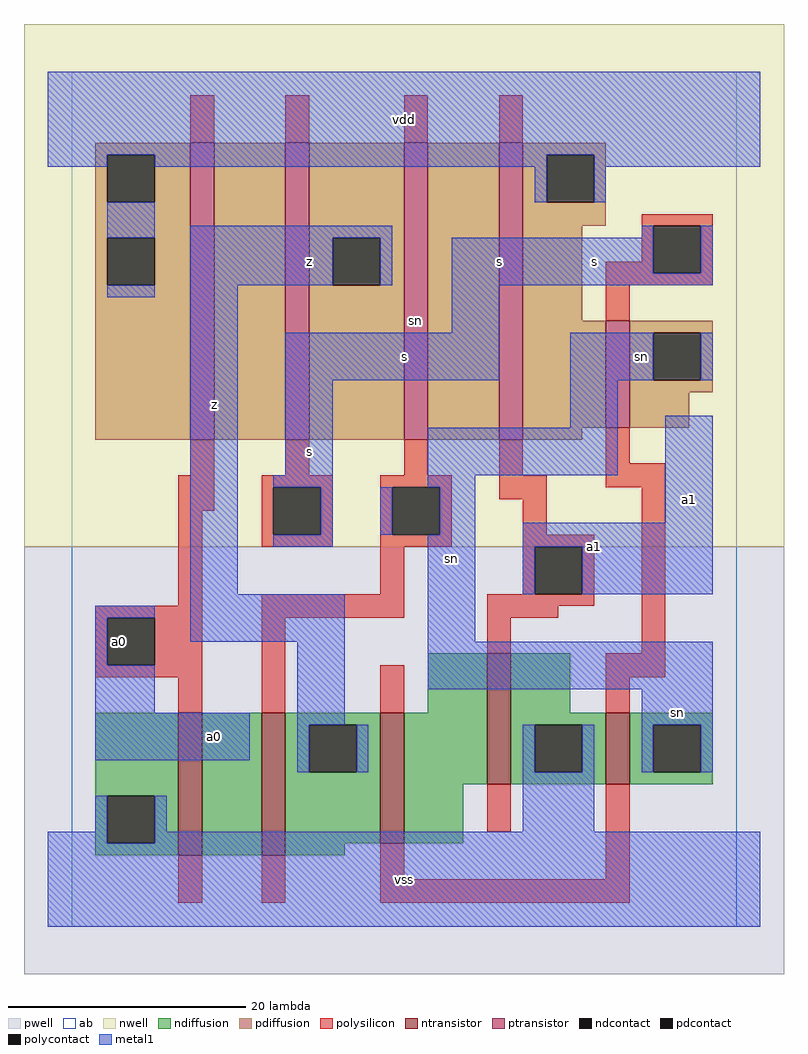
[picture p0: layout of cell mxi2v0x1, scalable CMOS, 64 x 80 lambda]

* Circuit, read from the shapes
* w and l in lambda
.subckt mxi2v0x1 a0 a1 s sn vdd vss z
M1 n1 a0 vss VSUBS nfet w=12 l=2
M2 z sn n1 VSUBS nfet w=12 l=2
M3 n2 s z VSUBS nfet w=11 l=2
M4 vss a1 n2 VSUBS nfet w=11 l=2
M5 sn s vss VSUBS nfet w=6 l=2
M6 n3 a0 vdd n4 pfet w=25 l=2
M7 z s n3 n4 pfet w=25 l=2
M8 n5 sn z n4 pfet w=25 l=2
M9 vdd a1 n5 n4 pfet w=25 l=2
M10 sn s vdd n4 pfet w=9 l=2
.ends

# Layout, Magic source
magic
tech scmos
<< ab >>
rect 0 0 56 72
<< pwell >>
rect -4 -4 60 32
<< nwell >>
rect -4 32 60 76
<< polysilicon >>
rect 10 66 12 70
rect 18 66 20 70
rect 28 66 30 70
rect 36 66 38 70
rect 48 59 54 60
rect 48 56 49 59
rect 45 55 49 56
rect 53 55 54 59
rect 45 54 54 55
rect 45 51 47 54
rect 10 38 12 41
rect 18 38 20 41
rect 28 38 30 41
rect 36 38 38 41
rect 45 39 47 42
rect 9 35 12 38
rect 16 37 22 38
rect 9 27 11 35
rect 16 33 17 37
rect 21 33 22 37
rect 16 32 22 33
rect 26 37 32 38
rect 26 33 27 37
rect 31 33 32 37
rect 36 36 40 38
rect 45 37 50 39
rect 26 32 32 33
rect 38 33 40 36
rect 38 32 44 33
rect 26 28 28 32
rect 38 28 39 32
rect 43 28 44 32
rect 2 26 11 27
rect 2 22 3 26
rect 7 22 11 26
rect 2 21 11 22
rect 9 18 11 21
rect 16 26 28 28
rect 35 27 44 28
rect 35 26 41 27
rect 16 18 18 26
rect 35 23 37 26
rect 48 23 50 37
rect 26 18 28 22
rect 45 21 50 23
rect 45 18 47 21
rect 35 8 37 12
rect 9 2 11 6
rect 16 2 18 6
rect 26 4 28 7
rect 45 4 47 12
rect 26 2 47 4
<< ndiffusion >>
rect 30 18 35 23
rect 2 11 9 18
rect 2 7 3 11
rect 7 7 9 11
rect 2 6 9 7
rect 11 6 16 18
rect 18 17 26 18
rect 18 13 20 17
rect 24 13 26 17
rect 18 7 26 13
rect 28 12 35 18
rect 37 18 42 23
rect 37 17 45 18
rect 37 13 39 17
rect 43 13 45 17
rect 37 12 45 13
rect 47 17 54 18
rect 47 13 49 17
rect 53 13 54 17
rect 47 12 54 13
rect 28 7 33 12
rect 18 6 23 7
<< pdiffusion >>
rect 2 65 10 66
rect 2 61 3 65
rect 7 61 10 65
rect 2 58 10 61
rect 2 54 3 58
rect 7 54 10 58
rect 2 41 10 54
rect 12 41 18 66
rect 20 58 28 66
rect 20 54 22 58
rect 26 54 28 58
rect 20 41 28 54
rect 30 41 36 66
rect 38 65 45 66
rect 38 61 40 65
rect 44 61 45 65
rect 38 59 45 61
rect 38 51 43 59
rect 38 42 45 51
rect 47 50 54 51
rect 47 46 49 50
rect 53 46 54 50
rect 47 45 54 46
rect 47 42 52 45
rect 38 41 43 42
<< metal1 >>
rect -2 65 58 72
rect -2 64 3 65
rect 7 64 40 65
rect 39 61 40 64
rect 44 64 58 65
rect 44 61 45 64
rect 3 58 7 61
rect 3 53 7 54
rect 10 58 27 59
rect 48 58 49 59
rect 10 54 22 58
rect 26 54 27 58
rect 32 55 49 58
rect 53 55 54 59
rect 32 54 54 55
rect 10 28 14 54
rect 32 50 36 54
rect 18 46 36 50
rect 42 46 49 50
rect 53 46 54 50
rect 18 38 22 46
rect 42 42 46 46
rect 17 37 22 38
rect 30 38 46 42
rect 30 37 34 38
rect 21 33 22 37
rect 26 33 27 37
rect 31 33 34 37
rect 50 34 54 43
rect 17 32 22 33
rect 2 26 7 27
rect 2 22 3 26
rect 10 24 23 28
rect 2 18 7 22
rect 2 14 15 18
rect 19 17 23 24
rect 30 24 34 33
rect 38 32 54 34
rect 38 28 39 32
rect 43 28 54 32
rect 30 20 54 24
rect 48 17 54 20
rect 19 13 20 17
rect 24 13 25 17
rect 38 13 39 17
rect 43 13 44 17
rect 48 13 49 17
rect 53 13 54 17
rect 2 8 3 11
rect -2 7 3 8
rect 7 8 8 11
rect 38 8 44 13
rect 7 7 58 8
rect -2 0 58 7
<< ntransistor >>
rect 9 6 11 18
rect 16 6 18 18
rect 26 7 28 18
rect 35 12 37 23
rect 45 12 47 18
<< ptransistor >>
rect 10 41 12 66
rect 18 41 20 66
rect 28 41 30 66
rect 36 41 38 66
rect 45 42 47 51
<< polycontact >>
rect 49 55 53 59
rect 17 33 21 37
rect 27 33 31 37
rect 39 28 43 32
rect 3 22 7 26
<< ndcontact >>
rect 3 7 7 11
rect 20 13 24 17
rect 39 13 43 17
rect 49 13 53 17
<< pdcontact >>
rect 3 61 7 65
rect 3 54 7 58
rect 22 54 26 58
rect 40 61 44 65
rect 49 46 53 50
<< labels >>
rlabel ptransistor 29 51 29 51 6 sn
rlabel polycontact 4 24 4 24 6 a0
rlabel metal1 12 16 12 16 6 a0
rlabel metal1 20 40 20 40 6 s
rlabel metal1 12 44 12 44 6 z
rlabel metal1 20 56 20 56 6 z
rlabel metal1 28 4 28 4 6 vss
rlabel metal1 32 31 32 31 6 sn
rlabel metal1 28 48 28 48 6 s
rlabel metal1 36 56 36 56 6 s
rlabel metal1 28 68 28 68 6 vdd
rlabel metal1 51 18 51 18 6 sn
rlabel metal1 44 32 44 32 6 a1
rlabel metal1 52 36 52 36 6 a1
rlabel metal1 48 48 48 48 6 sn
rlabel metal1 44 56 44 56 6 s
<< end >>
